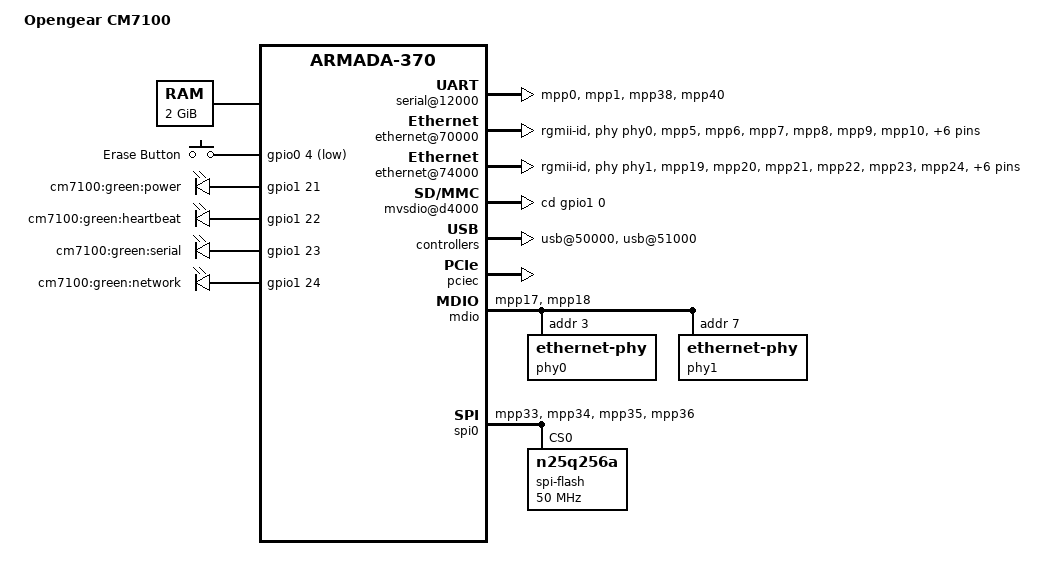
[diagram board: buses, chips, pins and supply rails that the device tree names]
/*
 * Device Tree file for Opengear CM7100
 *
 * Ken Wilson <ken.wilson@opengear.com>
 *
 * This file is licensed under the terms of the GNU General Public
 * License version 2.  This program is licensed "as is" without any
 * warranty of any kind, whether express or implied.
 */

/dts-v1/;
#include "armada-370.dtsi"

/ {
	model = "Opengear CM7100";
	compatible = "opengear,cm7100", "marvell,armada370", "marvell,armada-370-xp";

	chosen {
		bootargs = "console=ttyS0,115200 earlyprintk debug root=/dev/ram0";
	};

	memory {
		device_type = "memory";
		reg = <0x00000000 0x80000000>; /* 2GB  */
	};

	soc {
		ranges = <MBUS_ID(0xf0, 0x01) 0 0xd0000000 0x100000
			  MBUS_ID(0x01, 0xe0) 0 0xfff00000 0x100000
			  MBUS_ID(0x09, 0x01) 0 0xf1100000 0x10000>;

		internal-regs {
			serial@12000 {
				clock-frequency = <200000000>;
				pinctrl-0 = <&uart0_pins>;
				pinctrl-names = "default";
				status = "okay";
			};

			timer@20300 {
				clock-frequency = <600000000>;
				status = "okay";
			};

			gpio_keys {
				compatible = "gpio-keys";
				#address-cells = <1>;
				#size-cells = <0>;
				button@0 {
					label = "Erase Button";
					linux,code = <84>; /* Delete */
					gpios = <&gpio0 4 1>;
				};
			};

			ethernet@70000 {
				status = "okay";
				phy = <&phy0>;
				phy-mode = "rgmii-id";
				pinctrl-0 = <&ge0_pins>;
				pinctrl-names = "default";
				
			};

			ethernet@74000 {
				status = "okay";
				phy = <&phy1>;
				phy-mode = "rgmii-id";
				pinctrl-0 = <&ge1_pins>;
				pinctrl-names = "default";
			};

			mvsdio@d4000 {
				status = "okay";
				cd-gpios = <&gpio1 0 1>;
				cd-inverted;
				no-1-8-v;
				pinctrl-0 = <&sdio_pins2>;
				pinctrl-names = "default";
			};

			usb@50000 {
				status = "okay";
			};

			usb@51000 {
				status = "okay";
			};
		};
	};

	gpio_leds {
		compatible = "gpio-leds";
		pinctrl-names = "default";
		pinctrl-0 = <&led_1_pin &led_2_pin &led_3_pin &led_4_pin>;

		green_power_led {
			label = "cm7100:green:power";
			gpios = <&gpio1 21 0>;
			default-state = "on";
		};

		green_hb_led {
			label = "cm7100:green:heartbeat";
			gpios = <&gpio1 22 0>;
			linux,default-trigger = "heartbeat";
		};

		green_led3_led {
			label = "cm7100:green:serial";
			gpios = <&gpio1 23 0>;
			linux,default-trigger = "serial";
		};
		
		green_led4_led {
			label = "cm7100:green:network";
			gpios = <&gpio1 24 0>;
			linux,default-trigger = "network";
		};
	};
};

&pinctrl {
	/* UART Pins */
	uart0_pins: uart0-pins {
		marvell,pins = "mpp0", "mpp1", "mpp38", "mpp40";
		marvell,function = "uart0";
	};

	/* Ge0 Pins */
	ge0_pins: ge0-pins {
		marvell,pins = "mpp5", "mpp6", "mpp7", "mpp8",
				"mpp9", "mpp10", "mpp11", "mpp12",
				"mpp13", "mpp14", "mpp15", "mpp16";
		marvell,function = "ge0";
	};

	/* MDIO Pins */
	mdio_pins: mdio-pins { 
		marvell,pins = "mpp17", "mpp18";
		marvell,function = "ge";
	};

	/* Ge1 Pins */
	ge1_pins: ge1-pins {
		marvell,pins = "mpp19", "mpp20", "mpp21", "mpp22",
				"mpp23", "mpp24", "mpp25", "mpp26",
				"mpp27", "mpp28", "mpp29", "mpp30";
		marvell,function = "ge1";
	};

	/* SPI */
	spi_pins0: spi-pins0 {
		marvell,pins = "mpp33", "mpp34", "mpp35", "mpp36";
		marvell,function = "spi0";
	};

	/* GPIOS */
	led_1_pin: led-1-pin {
		marvell,pins = "mpp53";
		marvell,function = "gpio";
	};

	led_2_pin: led-2-pin {
		marvell,pins = "mpp54";
		marvell,function = "gpo";
	};

	led_3_pin: led-3-pin {
		marvell,pins = "mpp55";
		marvell,function = "gpio";
	};

	led_4_pin: led-4-pin {
		marvell,pins = "mpp56";
		marvell,function = "gpio";
	};

	usb_enable_pin_a: usb-enable-pin-a {
		marvell,pins = "mpp59";
		marvell,function = "gpo";
	};

	usb_enable_pin_b: usb-enable-pin-b {
		marvell,pins = "mpp61";
		marvell,function = "gpo";
	};

	pex_int_pin: pex-int-pin {
		marvell,pins = "mpp60";
		marvell,function = "gpio";
	};

	erase_button_pin: erase-button-pin {	
		marvell,pins = "mpp4";
		marvell,function = "gpio";
	};

	sd_detect_pin: sd-detect-pin {	
		marvell,pins = "mpp32";
		marvell,function = "gpio";
	};

	console_enable_pin: console-enable-pin {	
		marvell,pins = "mpp42";
		marvell,function = "gpo";
	};

	console_dtr_pin: console-dtr-pin {	
		marvell,pins = "mpp37";
		marvell,function = "gpio";
	};

	console_dcd_pin: console-dcd-pin {	
		marvell,pins = "mpp41";
		marvell,function = "gpio";
	};

	reset_3v3_pin: reset-3v3-pin {	
		marvell,pins = "mpp43";
		marvell,function = "gpo";
	};

	wdt_tickle_pin: wdt-tickle-pin {	
		marvell,pins = "mpp46";
		marvell,function = "gpo";
	};
};
			
&pciec {
	status = "okay";

	/* Internal mini-PCIe connector */
	pcie@1,0 {
		/* Port 0, Lane 0 */
		status = "okay";
	};

	/* Connected on the PCB to a USB 3.0 XHCI controller */
	pcie@2,0 {
		/* Port 1, Lane 0 */
		status = "okay";
	};
};

&mdio {
	pinctrl-0 = <&mdio_pins>;
	pinctrl-names = "default";

	phy0: ethernet-phy@0 {
		reg = <3>;
	};

	phy1: ethernet-phy@1 {
		reg = <7>;
	};
};

&spi0 {
      status = "okay";
      pinctrl-0 = <&spi_pins0>;
      pinctrl-names = "default";

      spi-flash@0 {
		#address-cells = <1>;
		#size-cells = <1>;
		compatible = "n25q256a", "mt25ql256a", "jedec,spi-nor";
		reg = <0>; /* Chip select 0 */
		spi-max-frequency = <50000000>;

		u-boot@0 {
			label = "u-boot";
			reg = <0x00000000 0x00100000>;
		};

		u-boot-config-block@100000 {
			label = "u-boot config block";
			reg = <0x00100000 0x00020000>;
		};

		config@120000 {
			label = "config";
			reg = <0x00120000 0x200000>;
		};

		image@320000 {
			label = "image";
			reg = <0x00320000 0x1400000>;
		};

		all@0 {
			label = "all";
			reg = <0x0 0x2000000>;
		};
	};
};
